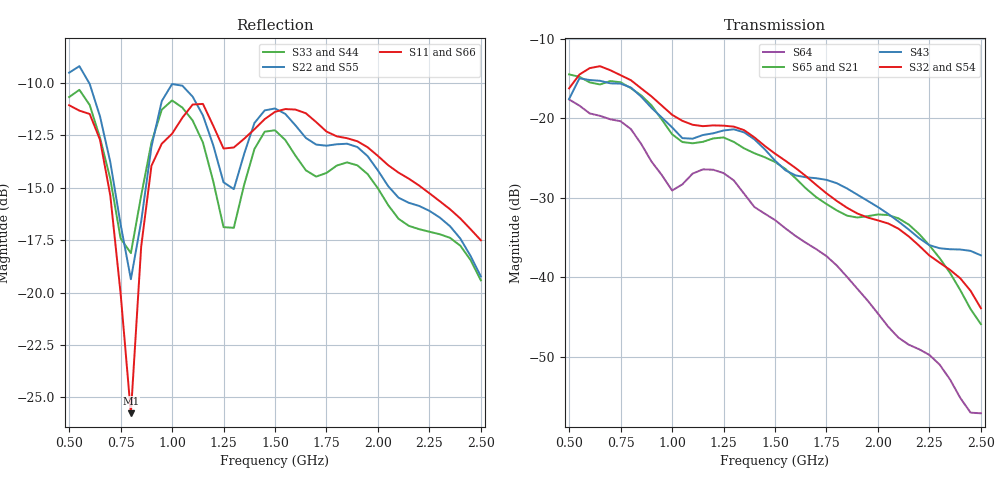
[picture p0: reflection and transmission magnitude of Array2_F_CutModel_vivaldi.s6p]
! Touchstone file exported from HFSS 2023.2.0
!  File:  C:/Users/aapoi/Documents/Escuela/Maestria/EMT/HFSS/Array2_F_CutModel_vivaldi.aedt
!  Generated:  2:53:32 PM  Aug 22, 2025
!  Design:  HFSSDesign1
!  Project:  Array2_F_CutModel_vivaldi
!  Setup:  Setup1
!  Solution:  Sweep
! Variables:
!  $Bladder_Full_X_Shift = 2.5cm
!  $Bladder_Full_Z_Shift = 3cm
!  $Bladder_shift_from_PB = 35mm
!  $Pubic_Bone_Angle = 55deg
!  $ant_base_offset = 25mm
!  $ant_rot = 8.59788deg
!  $ant_sweep_shift = 25mm
!  $anteposterior_diameter = 10.49cm
!  $axial_bladder_diam = 80mm
!  $back_pelvic_bone_height = 0.1125meter
!  $back_pelvic_bone_rectangle_Xshift = 64.3578981445632mm
!  $bladder_wall_thickness = 3.15mm
!  $body_axial_ratio = 1.59973110444618
!  $body_major_rad = 10.6361cm
!  $body_minor_rad = 17.0149cm
!  $center_bladder_rad = 0.073838504391812meter
!  $coccyx_thickness = -15.5mm
!  $coccyx_tip_width = 10mm
!  $cone_angle_sacrococcyx = 33.56deg
!  $coronal_bladder_diam = 80mm
!  $end_u = 450deg
!  $end_v = 270deg
!  $fat_thickness = 13.5031018554368mm
!  $front_pelvic_bone_height = 55mm
!  $mix_major_rad = 0.0808578981445632meter
!  $model_height = 0.15meter
!  $muscle_thickness = 0.01meter
!  $pelvis_angle = 55deg
!  $pubic_bone_thickness = 16.5mm
!  $rad_curve_back_bones = 89.2mm
!  $sacrum_top_width = 88mm
!  $sagittal_bladder_diam = 100mm
!  $skin_thickness = 0.002meter
!  $start_u = 90deg
!  $start_v = 90deg
!  $striaght_sacrococcyx_length = 126mm
!  $transverse_diameter = 13cm
!  $x_bladder_rad = 50mm
!  $y_bladder_rad = 40mm
!  $z_bladder_rad = 40mm
!  Ad = 1mm
!  An = 5.5mm
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# GHz S MA R 50.000000
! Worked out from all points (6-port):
!   41 points, 500 MHz to 2.5 GHz, reference 50 ohm
!   strongest paths, dB at 500 MHz, 1 GHz, 1.5 GHz, 2 GHz, 2.5 GHz:
!     S32: -16.2, -19.6, -24.4, -32.8, -43.9
!     S54: -16.2, -19.5, -24.4, -32.9, -43.7
!     S43: -17.6, -21.1, -25.3, -31.2, -37.2
!     S65: -14.5, -22.0, -25.5, -32.1, -45.9
!     S21: -14.5, -22.1, -25.5, -32.1, -46.0
!     S64: -17.6, -29.1, -32.8, -44.5, -57.1
!   lowest |S11| = -25.8 dB at 800 MHz (marker M1), VSWR 1.11, Z = 49.6 + j5.12 ohm
!   |S11| at or under -10 dB: start of sweep to end of sweep
